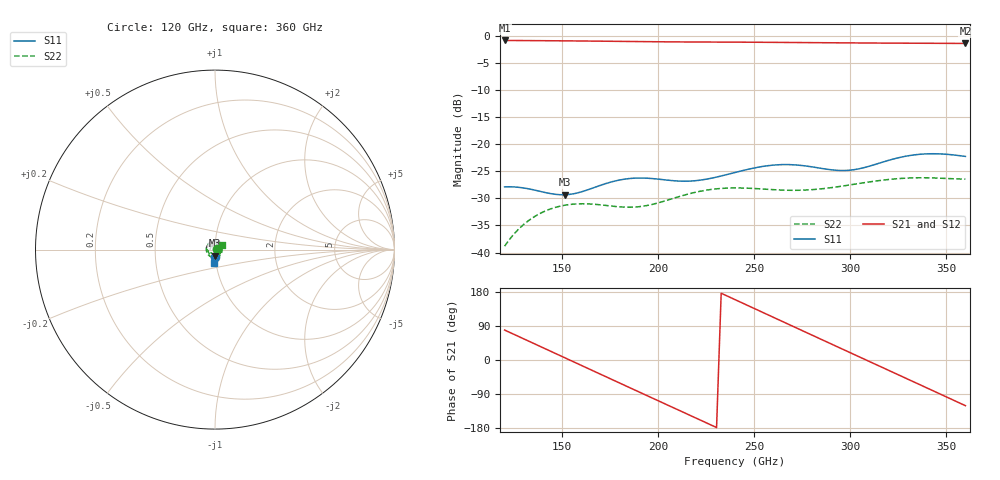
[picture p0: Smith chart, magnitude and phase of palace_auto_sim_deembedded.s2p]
! Created with skrf 1.11.0 (http://scikit-rf.org).
# GHz S DB R 50.0
!freq dBS11 angS11 dBS21 angS21 dBS12 angS12 dBS22 angS22
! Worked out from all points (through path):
!   101 points, 120 GHz to 360 GHz, reference 50 ohm
!   highest |S21| = -0.86 dB at 120 GHz (marker M1); lowest = -1.4 dB at 360 GHz (marker M2)
!   group delay of S21, straight-line fit = 6.48 ps
!   lowest |S11| = -29.3 dB at 151.2 GHz (marker M3), VSWR 1.07, Z = 49.9 - j3.41 ohm
!   |S11| at or under -10 dB: start of sweep to end of sweep
!   |S22| runs from -38.8 to -26.2 dB; largest |S21 - S12| = 1.5e-13
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120  -27.88 -86.4  -0.86 79.0  -0.86 79.0  -38.82 31.9
136.8  -28.57 -95.8  -0.89 39.9  -0.89 39.9  -33.11 -31.8
151.2  -29.34 -90.4  -0.93 6.2  -0.93 6.2  -31.27 -82.3
160.8  -28.71 -84.2  -0.96 -16.2  -0.96 -16.2  -31.00 -118.5
170.4  -27.54 -82.7  -0.99 -38.6  -0.99 -38.6  -31.22 -158.2
182.4  -26.46 -86.8  -1.03 -66.6  -1.03 -66.6  -31.62 145.6
192  -26.25 -91.2  -1.07 -88.9  -1.07 -88.9  -31.45 96.7
201.6  -26.51 -93.4  -1.10 -111.3  -1.10 -111.3  -30.67 48.1
220.8  -26.69 -87.5  -1.14 -155.9  -1.14 -155.9  -28.77 -41.1
230.4  -26.07 -84.1  -1.16 -178.2  -1.16 -178.2  -28.24 -83.2
240  -25.23 -83.0  -1.17 159.4  -1.17 159.4  -28.08 -125.3
252  -24.26 -85.3  -1.19 131.3  -1.19 131.3  -28.22 -179.2
261.6  -23.82 -89.1  -1.21 108.9  -1.21 108.9  -28.43 135.8
271.2  -23.82 -92.9  -1.24 86.5  -1.24 86.5  -28.52 89.3
280.8  -24.23 -94.8  -1.26 64.1  -1.26 64.1  -28.38 42.2
292.8  -24.82 -91.6  -1.29 36.1  -1.29 36.1  -27.89 -16.1
302.4  -24.69 -85.6  -1.31 13.7  -1.31 13.7  -27.38 -61.5
312  -23.85 -81.3  -1.33 -8.6  -1.33 -8.6  -26.87 -105.9
321.6  -22.83 -81.3  -1.35 -31.0  -1.35 -31.0  -26.46 -149.5
340.8  -21.78 -88.4  -1.38 -75.7  -1.38 -75.7  -26.21 123.1
350.4  -21.87 -91.9  -1.39 -98.1  -1.39 -98.1  -26.33 78.0
360  -22.26 -93.2  -1.41 -120.5  -1.41 -120.5  -26.45 31.4
